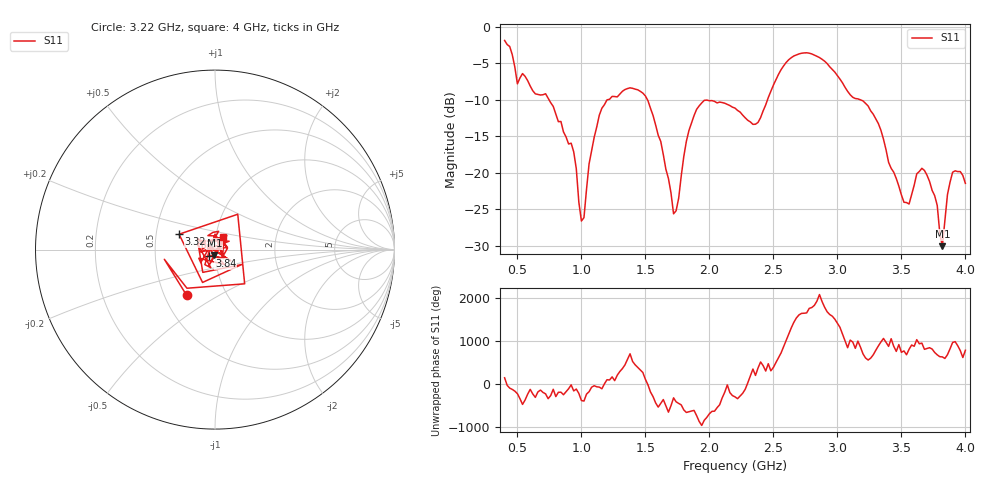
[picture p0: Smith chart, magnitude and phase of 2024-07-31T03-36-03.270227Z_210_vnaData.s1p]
!Created with skrf (http://scikit-rf.org).
# Hz S RI R 50.0
!freq ReS11 ImS11
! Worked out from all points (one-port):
!   181 points, 400 MHz to 4 GHz, reference 50 ohm
!   lowest |S11| = -30.0 dB at 3.82 GHz (marker M1), VSWR 1.06, Z = 49.5 - j3.1 ohm
!   |S11| at or under -10 dB: 747.8 MHz to 1.2 GHz (452 MHz wide, 46.4 % of centre); 1.517 GHz to 2.454 GHz (937.1 MHz wide, 47.2 % of centre); 3.181 GHz to end of sweep
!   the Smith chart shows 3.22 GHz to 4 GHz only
!   S11 on the Smith chart (normalised r, x): 3.22 GHz: 0.65, -0.36; 3.32 GHz: 0.66, +0.12; 3.84 GHz: 0.94, -0.06; 4 GHz: 1.08, +0.16
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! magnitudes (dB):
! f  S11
! 400 MHz  -1.9
! 500 MHz  -7.8
! 720 MHz  -9.2
! 860 MHz  -14.4
! 940 MHz  -17.1
! 1 GHz  -26.6
! 1.14 GHz  -12.1
! 1.3 GHz  -9.2
! 1.5 GHz  -9.5
! 1.62 GHz  -15.7
! 1.72 GHz  -25.6
! 1.76 GHz  -23.5
! 1.82 GHz  -15.7
! 1.9 GHz  -11.3
! 2.2 GHz  -11.1
! 2.38 GHz  -13.1
! 2.66 GHz  -4.0
! 2.88 GHz  -4.4
! 3.1 GHz  -9.3
! 3.22 GHz  -10.5
! 3.32 GHz  -13.2
! 3.56 GHz  -24.3
! 3.68 GHz  -19.7
! 3.78 GHz  -24.5
! 3.82 GHz  -30.0
! 3.84 GHz  -26.5
! 3.9 GHz  -19.9
! 4 GHz  -21.4
